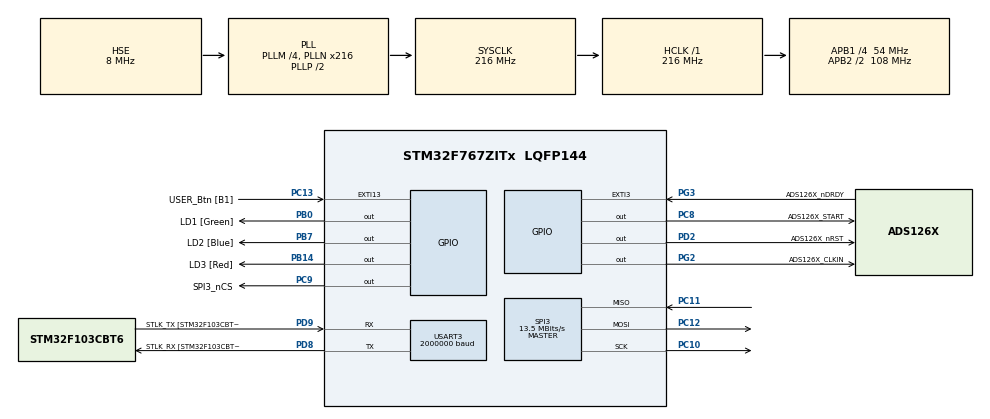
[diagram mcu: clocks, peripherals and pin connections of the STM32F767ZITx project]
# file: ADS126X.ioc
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Dma.Request0=SPI3_RX
Dma.Request1=SPI3_TX
Dma.SPI3_RX.0.Direction=DMA_PERIPH_TO_MEMORY
Dma.SPI3_RX.0.FIFOMode=DMA_FIFOMODE_DISABLE
Dma.SPI3_RX.0.Instance=DMA1_Stream0
Dma.SPI3_RX.0.MemDataAlignment=DMA_MDATAALIGN_BYTE
Dma.SPI3_RX.0.MemInc=DMA_MINC_ENABLE
Dma.SPI3_RX.0.Mode=DMA_NORMAL
Dma.SPI3_RX.0.PeriphDataAlignment=DMA_PDATAALIGN_BYTE
Dma.SPI3_RX.0.PeriphInc=DMA_PINC_DISABLE
Dma.SPI3_RX.0.Priority=DMA_PRIORITY_HIGH
Dma.SPI3_TX.1.Direction=DMA_MEMORY_TO_PERIPH
Dma.SPI3_TX.1.FIFOMode=DMA_FIFOMODE_DISABLE
Dma.SPI3_TX.1.Instance=DMA1_Stream5
Dma.SPI3_TX.1.MemDataAlignment=DMA_MDATAALIGN_BYTE
Dma.SPI3_TX.1.MemInc=DMA_MINC_ENABLE
Dma.SPI3_TX.1.Mode=DMA_NORMAL
Dma.SPI3_TX.1.PeriphDataAlignment=DMA_PDATAALIGN_BYTE
Dma.SPI3_TX.1.PeriphInc=DMA_PINC_DISABLE
Dma.SPI3_TX.1.Priority=DMA_PRIORITY_LOW
Mcu.Family=STM32F7
Mcu.Name=STM32F767ZITx
Mcu.Package=LQFP144
NVIC.DMA1_Stream0_IRQn=true\:0\:0\:false\:false\:true\:false\:true\:true
NVIC.DMA1_Stream5_IRQn=true\:0\:0\:false\:false\:true\:false\:true\:true
NVIC.EXTI3_IRQn=true\:0\:0\:false\:false\:true\:true\:true\:true
NVIC.PriorityGroup=NVIC_PRIORITYGROUP_4
NVIC.USART3_IRQn=true\:0\:0\:false\:false\:true\:true\:true\:true
PA13.GPIO_Label=TMS
PA13.Mode=Serial_Wire
PA13.Signal=SYS_JTMS-SWDIO
PA14.GPIO_Label=TCK
PA14.Mode=Serial_Wire
PA14.Signal=SYS_JTCK-SWCLK
PB0.GPIO_Label=LD1 [Green]
PB0.Signal=GPIO_Output
PB14.GPIO_Label=LD3 [Red]
PB14.Signal=GPIO_Output
PB7.GPIO_Label=LD2 [Blue]
PB7.Signal=GPIO_Output
PC10.Mode=Full_Duplex_Master
PC10.Signal=SPI3_SCK
PC11.Mode=Full_Duplex_Master
PC11.Signal=SPI3_MISO
PC12.Mode=Full_Duplex_Master
PC12.Signal=SPI3_MOSI
PC13.GPIO_Label=USER_Btn [B1]
PC13.Signal=GPXTI13
PC14/OSC32_IN.Signal=RCC_OSC32_IN
PC15/OSC32_OUT.Signal=RCC_OSC32_OUT
PC8.GPIO_Label=ADS126X_START
PC8.Signal=GPIO_Output
PC9.GPIO_Label=SPI3_nCS
PC9.PinState=GPIO_PIN_SET
PC9.Signal=GPIO_Output
PD2.GPIO_Label=ADS126X_nRST
PD2.Signal=GPIO_Output
PD8.GPIO_Label=STLK_RX [STM32F103CBT6_PA3]
PD8.Mode=Asynchronous
PD8.Signal=USART3_TX
PD9.GPIO_Label=STLK_TX [STM32F103CBT6_PA2]
PD9.Mode=Asynchronous
PD9.Signal=USART3_RX
PG2.GPIO_Label=ADS126X_CLKIN
PG2.Signal=GPIO_Output
PG3.GPIO_Label=ADS126X_nDRDY
PG3.GPIO_ModeDefaultEXTI=GPIO_MODE_IT_FALLING
PG3.Signal=GPXTI3
PH0/OSC_IN.Mode=HSE-External-Clock-Source
PH0/OSC_IN.Signal=RCC_OSC_IN
PH1/OSC_OUT.Mode=HSE-External-Clock-Source
PH1/OSC_OUT.Signal=RCC_OSC_OUT
ProjectManager.HeapSize=0x2000
ProjectManager.StackSize=0x4000
ProjectManager.TargetToolchain=MDK-ARM V5.32
RCC.48MHZClocksFreq_Value=24000000
RCC.AHBFreq_Value=216000000
RCC.APB1CLKDivider=RCC_HCLK_DIV4
RCC.APB1Freq_Value=54000000
RCC.APB1TimFreq_Value=108000000
RCC.APB2CLKDivider=RCC_HCLK_DIV2
RCC.APB2Freq_Value=108000000
RCC.APB2TimFreq_Value=216000000
RCC.CortexFreq_Value=216000000
RCC.HCLKFreq_Value=216000000
RCC.HSE_VALUE=8000000
RCC.HSI_VALUE=16000000
RCC.PLLM=4
RCC.PLLMUL=RCC_PLL_MUL9
RCC.PLLN=216
RCC.PLLQ=4
RCC.PLLSourceVirtual=RCC_PLLSOURCE_HSE
RCC.PRESCALERUSB=RCC_USBCLKSOURCE_PLL_DIV1_5
RCC.SYSCLKFreq_VALUE=216000000
RCC.SYSCLKSource=RCC_SYSCLKSOURCE_PLLCLK
RCC.SYSCLKSourceVirtual=RCC_SYSCLKSOURCE_PLLCLK
RCC.USBFreq_Value=108000000
RCC.VCOOutputFreq_Value=432000000
SPI3.BaudRatePrescaler=SPI_BAUDRATEPRESCALER_4
SPI3.CLKPhase=SPI_PHASE_2EDGE
SPI3.CalculateBaudRate=13.5 MBits/s
SPI3.DataSize=SPI_DATASIZE_8BIT
SPI3.Direction=SPI_DIRECTION_2LINES
SPI3.Mode=SPI_MODE_MASTER
SPI3.VirtualType=VM_MASTER
USART3.BaudRate=2000000
USART3.OverSampling=UART_OVERSAMPLING_16
USART3.VirtualMode-Asynchronous=VM_ASYNC
board=NUCLEO-F767ZI

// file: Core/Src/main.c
/* USER CODE BEGIN Header */
/**
  ******************************************************************************
  * @file           : main.c
  * @brief          : Main program body
  ******************************************************************************
  * @attention
  *
  * Copyright (c) 2023 STMicroelectronics.
  * All rights reserved.
  *
  * This software is licensed under terms that can be found in the LICENSE file
  * in the root directory of this software component.
  * If no LICENSE file comes with this software, it is provided AS-IS.
  *
  ******************************************************************************
  */
/* USER CODE END Header */
#include "main.h"

/* USER CODE BEGIN Includes */
#include "ADS126x.h"
/* USER CODE END Includes */

SPI_HandleTypeDef hspi3;
DMA_HandleTypeDef hdma_spi3_rx;
DMA_HandleTypeDef hdma_spi3_tx;

UART_HandleTypeDef huart3;

void SystemClock_Config(void);
static void MX_GPIO_Init(void);
static void MX_DMA_Init(void);
static void MX_SPI3_Init(void);
static void MX_USART3_UART_Init(void);

/* USER CODE BEGIN 0 */
#define UART_TXBUFFER_SIZE			512
#define UART_TXDATA_BUFFER_SIZE		50
static const char caption[] = "ADS126X (20sps, default setting with reset status cleared)\r";
static const uint8_t bin_to_hex[16] = "0123456789ABCDEF";
static volatile uint32_t uart3_tx_is_busy = 0;
static uint8_t uart_txbuf[UART_TXBUFFER_SIZE];
static uint32_t uart_txbuf_index;
static uint32_t uart_txdata_number;
static uint32_t uart_txdata_index;
static uint32_t uart_txdata_buffer[UART_TXDATA_BUFFER_SIZE];
/* USER CODE END 0 */

int main(void)
{

  /* MCU Configuration--------------------------------------------------------*/

  /* Reset of all peripherals, Initializes the Flash interface and the Systick. */
  HAL_Init();

  /* Configure the system clock */
  SystemClock_Config();

  /* Initialize all configured peripherals */
  MX_GPIO_Init();
  MX_DMA_Init();
  MX_SPI3_Init();
  MX_USART3_UART_Init();
  /* USER CODE BEGIN 2 */
	ADS126x_Init();

	HAL_UART_Transmit_IT(&huart3,(uint8_t*)caption,sizeof(caption));
	uart3_tx_is_busy = 1;
	HAL_Delay(1000);

	ADS126x_Start();
  /* USER CODE END 2 */

  /* Infinite loop */
  /* USER CODE BEGIN WHILE */
  while (1)
  {
		if (ads126x.is_SPI_dataReady == 1)																												// new data arrives;
		{
			ADS126x_PushDatatoCircularBuf();
			ads126x.is_SPI_dataReady = 0;
		}
		else {
			if ((ads126x.data_circularBuf.read_index != ads126x.data_circularBuf.write_index ) && (uart3_tx_is_busy == 0)) {			// buffer is not empty
				uart_txdata_number = UART_TXDATA_BUFFER_SIZE;
				ADS126x_GetDatafromCircularBuf(uart_txdata_buffer, &uart_txdata_number);
				uart_txbuf_index = 0;
				for ( uart_txdata_index = 0; uart_txdata_index < uart_txdata_number; uart_txdata_index++ ) {
					uint32_t temp_variable = uart_txdata_buffer[uart_txdata_index];
					uart_txbuf[uart_txbuf_index++] = bin_to_hex[(temp_variable >> 28)&0xF];
					uart_txbuf[uart_txbuf_index++] = bin_to_hex[(temp_variable >> 24)&0xF];
					uart_txbuf[uart_txbuf_index++] = bin_to_hex[(temp_variable >> 20)&0xF];
					uart_txbuf[uart_txbuf_index++] = bin_to_hex[(temp_variable >> 16)&0xF];
					uart_txbuf[uart_txbuf_index++] = bin_to_hex[(temp_variable >> 12)&0xF];
					uart_txbuf[uart_txbuf_index++] = bin_to_hex[(temp_variable >>  8)&0xF];
					uart_txbuf[uart_txbuf_index++] = bin_to_hex[(temp_variable >>  4)&0xF];
					uart_txbuf[uart_txbuf_index++] = bin_to_hex[(temp_variable >>  0)&0xF];
					uart_txbuf[uart_txbuf_index++] = '\r';
				}
				HAL_UART_Transmit_IT(&huart3,uart_txbuf,uart_txbuf_index);
				uart3_tx_is_busy = 1;
			}
		}
    /* USER CODE END WHILE */

  }
}

void SystemClock_Config(void)
{
  RCC_OscInitTypeDef RCC_OscInitStruct = {0};
  RCC_ClkInitTypeDef RCC_ClkInitStruct = {0};

  /** Configure the main internal regulator output voltage
  */
  __HAL_RCC_PWR_CLK_ENABLE();
  __HAL_PWR_VOLTAGESCALING_CONFIG(PWR_REGULATOR_VOLTAGE_SCALE1);

  /** Initializes the RCC Oscillators according to the specified parameters
  * in the RCC_OscInitTypeDef structure.
  */
  RCC_OscInitStruct.OscillatorType = RCC_OSCILLATORTYPE_HSE;
  RCC_OscInitStruct.HSEState = RCC_HSE_BYPASS;
  RCC_OscInitStruct.PLL.PLLState = RCC_PLL_ON;
  RCC_OscInitStruct.PLL.PLLSource = RCC_PLLSOURCE_HSE;
  RCC_OscInitStruct.PLL.PLLM = 4;
  RCC_OscInitStruct.PLL.PLLN = 216;
  RCC_OscInitStruct.PLL.PLLP = RCC_PLLP_DIV2;
  RCC_OscInitStruct.PLL.PLLQ = 4;
  RCC_OscInitStruct.PLL.PLLR = 2;
  if (HAL_RCC_OscConfig(&RCC_OscInitStruct) != HAL_OK)
  {
    Error_Handler();
  }

  /** Activate the Over-Drive mode
  */
  if (HAL_PWREx_EnableOverDrive() != HAL_OK)
  {
    Error_Handler();
  }

  /** Initializes the CPU, AHB and APB buses clocks
  */
  RCC_ClkInitStruct.ClockType = RCC_CLOCKTYPE_HCLK|RCC_CLOCKTYPE_SYSCLK
                              |RCC_CLOCKTYPE_PCLK1|RCC_CLOCKTYPE_PCLK2;
  RCC_ClkInitStruct.SYSCLKSource = RCC_SYSCLKSOURCE_PLLCLK;
  RCC_ClkInitStruct.AHBCLKDivider = RCC_SYSCLK_DIV1;
  RCC_ClkInitStruct.APB1CLKDivider = RCC_HCLK_DIV4;
  RCC_ClkInitStruct.APB2CLKDivider = RCC_HCLK_DIV2;

  if (HAL_RCC_ClockConfig(&RCC_ClkInitStruct, FLASH_LATENCY_7) != HAL_OK)
  {
    Error_Handler();
  }
}

static void MX_SPI3_Init(void)
{

  /* SPI3 parameter configuration*/
  hspi3.Instance = SPI3;
  hspi3.Init.Mode = SPI_MODE_MASTER;
  hspi3.Init.Direction = SPI_DIRECTION_2LINES;
  hspi3.Init.DataSize = SPI_DATASIZE_8BIT;
  hspi3.Init.CLKPolarity = SPI_POLARITY_LOW;
  hspi3.Init.CLKPhase = SPI_PHASE_2EDGE;
  hspi3.Init.NSS = SPI_NSS_SOFT;
  hspi3.Init.BaudRatePrescaler = SPI_BAUDRATEPRESCALER_4;
  hspi3.Init.FirstBit = SPI_FIRSTBIT_MSB;
  hspi3.Init.TIMode = SPI_TIMODE_DISABLE;
  hspi3.Init.CRCCalculation = SPI_CRCCALCULATION_DISABLE;
  hspi3.Init.CRCPolynomial = 7;
  hspi3.Init.CRCLength = SPI_CRC_LENGTH_DATASIZE;
  hspi3.Init.NSSPMode = SPI_NSS_PULSE_DISABLE;
  if (HAL_SPI_Init(&hspi3) != HAL_OK)
  {
    Error_Handler();
  }

}

static void MX_USART3_UART_Init(void)
{

  huart3.Instance = USART3;
  huart3.Init.BaudRate = 2000000;
  huart3.Init.WordLength = UART_WORDLENGTH_8B;
  huart3.Init.StopBits = UART_STOPBITS_1;
  huart3.Init.Parity = UART_PARITY_NONE;
  huart3.Init.Mode = UART_MODE_TX_RX;
  huart3.Init.HwFlowCtl = UART_HWCONTROL_NONE;
  huart3.Init.OverSampling = UART_OVERSAMPLING_16;
  huart3.Init.OneBitSampling = UART_ONE_BIT_SAMPLE_DISABLE;
  huart3.AdvancedInit.AdvFeatureInit = UART_ADVFEATURE_NO_INIT;
  if (HAL_UART_Init(&huart3) != HAL_OK)
  {
    Error_Handler();
  }

}

static void MX_DMA_Init(void)
{

  /* DMA controller clock enable */
  __HAL_RCC_DMA1_CLK_ENABLE();

  /* DMA interrupt init */
  /* DMA1_Stream0_IRQn interrupt configuration */
  HAL_NVIC_SetPriority(DMA1_Stream0_IRQn, 0, 0);
  HAL_NVIC_EnableIRQ(DMA1_Stream0_IRQn);
  /* DMA1_Stream5_IRQn interrupt configuration */
  HAL_NVIC_SetPriority(DMA1_Stream5_IRQn, 0, 0);
  HAL_NVIC_EnableIRQ(DMA1_Stream5_IRQn);

}

static void MX_GPIO_Init(void)
{
  GPIO_InitTypeDef GPIO_InitStruct = {0};

  /* GPIO Ports Clock Enable */
  __HAL_RCC_GPIOE_CLK_ENABLE();
  __HAL_RCC_GPIOC_CLK_ENABLE();
  __HAL_RCC_GPIOF_CLK_ENABLE();
  __HAL_RCC_GPIOH_CLK_ENABLE();
  __HAL_RCC_GPIOA_CLK_ENABLE();
  __HAL_RCC_GPIOB_CLK_ENABLE();
  __HAL_RCC_GPIOG_CLK_ENABLE();
  __HAL_RCC_GPIOD_CLK_ENABLE();

  /*Configure GPIO pin Output Level */
  HAL_GPIO_WritePin(GPIOB, LD1_Pin|LD3_Pin|LD2_Pin, GPIO_PIN_RESET);

  /*Configure GPIO pin Output Level */
  HAL_GPIO_WritePin(ADS126X_CLKIN_GPIO_Port, ADS126X_CLKIN_Pin, GPIO_PIN_RESET);

  /*Configure GPIO pin Output Level */
  HAL_GPIO_WritePin(ADS126X_START_GPIO_Port, ADS126X_START_Pin, GPIO_PIN_RESET);

  /*Configure GPIO pin Output Level */
  HAL_GPIO_WritePin(SPI3_nCS_GPIO_Port, SPI3_nCS_Pin, GPIO_PIN_SET);

  /*Configure GPIO pin Output Level */
  HAL_GPIO_WritePin(ADS126X_nRST_GPIO_Port, ADS126X_nRST_Pin, GPIO_PIN_RESET);

  /*Configure GPIO pins : PE2 PE3 PE4 PE5
                           PE6 PE7 PE8 PE9
                           PE10 PE11 PE12 PE13
                           PE14 PE15 PE0 PE1 */
  GPIO_InitStruct.Pin = GPIO_PIN_2|GPIO_PIN_3|GPIO_PIN_4|GPIO_PIN_5
                          |GPIO_PIN_6|GPIO_PIN_7|GPIO_PIN_8|GPIO_PIN_9
                          |GPIO_PIN_10|GPIO_PIN_11|GPIO_PIN_12|GPIO_PIN_13
                          |GPIO_PIN_14|GPIO_PIN_15|GPIO_PIN_0|GPIO_PIN_1;
  GPIO_InitStruct.Mode = GPIO_MODE_ANALOG;
  GPIO_InitStruct.Pull = GPIO_NOPULL;
  HAL_GPIO_Init(GPIOE, &GPIO_InitStruct);

  /*Configure GPIO pin : USER_Btn_Pin */
  GPIO_InitStruct.Pin = USER_Btn_Pin;
  GPIO_InitStruct.Mode = GPIO_MODE_IT_RISING;
  GPIO_InitStruct.Pull = GPIO_NOPULL;
  HAL_GPIO_Init(USER_Btn_GPIO_Port, &GPIO_InitStruct);

  /*Configure GPIO pins : PF0 PF1 PF2 PF3
                           PF4 PF5 PF6 PF7
                           PF8 PF9 PF10 PF11
                           PF12 PF13 PF14 PF15 */
  GPIO_InitStruct.Pin = GPIO_PIN_0|GPIO_PIN_1|GPIO_PIN_2|GPIO_PIN_3
                          |GPIO_PIN_4|GPIO_PIN_5|GPIO_PIN_6|GPIO_PIN_7
                          |GPIO_PIN_8|GPIO_PIN_9|GPIO_PIN_10|GPIO_PIN_11
                          |GPIO_PIN_12|GPIO_PIN_13|GPIO_PIN_14|GPIO_PIN_15;
  GPIO_InitStruct.Mode = GPIO_MODE_ANALOG;
  GPIO_InitStruct.Pull = GPIO_NOPULL;
  HAL_GPIO_Init(GPIOF, &GPIO_InitStruct);

  /*Configure GPIO pins : PC0 PC1 PC2 PC3
                           PC4 PC5 PC6 PC7 */
  GPIO_InitStruct.Pin = GPIO_PIN_0|GPIO_PIN_1|GPIO_PIN_2|GPIO_PIN_3
                          |GPIO_PIN_4|GPIO_PIN_5|GPIO_PIN_6|GPIO_PIN_7;
  GPIO_InitStruct.Mode = GPIO_MODE_ANALOG;
  GPIO_InitStruct.Pull = GPIO_NOPULL;
  HAL_GPIO_Init(GPIOC, &GPIO_InitStruct);

  /*Configure GPIO pins : PA0 PA1 PA2 PA3
                           PA4 PA5 PA6 PA7
                           PA8 PA9 PA10 PA11
                           PA12 PA15 */
  GPIO_InitStruct.Pin = GPIO_PIN_0|GPIO_PIN_1|GPIO_PIN_2|GPIO_PIN_3
                          |GPIO_PIN_4|GPIO_PIN_5|GPIO_PIN_6|GPIO_PIN_7
                          |GPIO_PIN_8|GPIO_PIN_9|GPIO_PIN_10|GPIO_PIN_11
                          |GPIO_PIN_12|GPIO_PIN_15;
  GPIO_InitStruct.Mode = GPIO_MODE_ANALOG;
  GPIO_InitStruct.Pull = GPIO_NOPULL;
  HAL_GPIO_Init(GPIOA, &GPIO_InitStruct);

  /*Configure GPIO pins : LD1_Pin LD3_Pin LD2_Pin */
  GPIO_InitStruct.Pin = LD1_Pin|LD3_Pin|LD2_Pin;
  GPIO_InitStruct.Mode = GPIO_MODE_OUTPUT_PP;
  GPIO_InitStruct.Pull = GPIO_NOPULL;
  GPIO_InitStruct.Speed = GPIO_SPEED_FREQ_LOW;
  HAL_GPIO_Init(GPIOB, &GPIO_InitStruct);

  /*Configure GPIO pins : PB1 PB2 PB10 PB11
                           PB12 PB13 PB15 PB3
                           PB4 PB5 PB6 PB8
                           PB9 */
  GPIO_InitStruct.Pin = GPIO_PIN_1|GPIO_PIN_2|GPIO_PIN_10|GPIO_PIN_11
                          |GPIO_PIN_12|GPIO_PIN_13|GPIO_PIN_15|GPIO_PIN_3
                          |GPIO_PIN_4|GPIO_PIN_5|GPIO_PIN_6|GPIO_PIN_8
                          |GPIO_PIN_9;
  GPIO_InitStruct.Mode = GPIO_MODE_ANALOG;
  GPIO_InitStruct.Pull = GPIO_NOPULL;
  HAL_GPIO_Init(GPIOB, &GPIO_InitStruct);

  /*Configure GPIO pins : PG0 PG1 PG4 PG5
                           PG6 PG7 PG8 PG9
                           PG10 PG11 PG12 PG13
                           PG14 PG15 */
  GPIO_InitStruct.Pin = GPIO_PIN_0|GPIO_PIN_1|GPIO_PIN_4|GPIO_PIN_5
                          |GPIO_PIN_6|GPIO_PIN_7|GPIO_PIN_8|GPIO_PIN_9
                          |GPIO_PIN_10|GPIO_PIN_11|GPIO_PIN_12|GPIO_PIN_13
                          |GPIO_PIN_14|GPIO_PIN_15;
  GPIO_InitStruct.Mode = GPIO_MODE_ANALOG;
  GPIO_InitStruct.Pull = GPIO_NOPULL;
  HAL_GPIO_Init(GPIOG, &GPIO_InitStruct);

  /*Configure GPIO pins : PD10 PD11 PD12 PD13
                           PD14 PD15 PD0 PD1
                           PD3 PD4 PD5 PD6
                           PD7 */
  GPIO_InitStruct.Pin = GPIO_PIN_10|GPIO_PIN_11|GPIO_PIN_12|GPIO_PIN_13
                          |GPIO_PIN_14|GPIO_PIN_15|GPIO_PIN_0|GPIO_PIN_1
                          |GPIO_PIN_3|GPIO_PIN_4|GPIO_PIN_5|GPIO_PIN_6
                          |GPIO_PIN_7;
  GPIO_InitStruct.Mode = GPIO_MODE_ANALOG;
  GPIO_InitStruct.Pull = GPIO_NOPULL;
  HAL_GPIO_Init(GPIOD, &GPIO_InitStruct);

  /*Configure GPIO pin : ADS126X_CLKIN_Pin */
  GPIO_InitStruct.Pin = ADS126X_CLKIN_Pin;
  GPIO_InitStruct.Mode = GPIO_MODE_OUTPUT_PP;
  GPIO_InitStruct.Pull = GPIO_NOPULL;
  GPIO_InitStruct.Speed = GPIO_SPEED_FREQ_LOW;
  HAL_GPIO_Init(ADS126X_CLKIN_GPIO_Port, &GPIO_InitStruct);

  /*Configure GPIO pin : ADS126X_nDRDY_Pin */
  GPIO_InitStruct.Pin = ADS126X_nDRDY_Pin;
  GPIO_InitStruct.Mode = GPIO_MODE_IT_FALLING;
  GPIO_InitStruct.Pull = GPIO_NOPULL;
  HAL_GPIO_Init(ADS126X_nDRDY_GPIO_Port, &GPIO_InitStruct);

  /*Configure GPIO pins : ADS126X_START_Pin SPI3_nCS_Pin */
  GPIO_InitStruct.Pin = ADS126X_START_Pin|SPI3_nCS_Pin;
  GPIO_InitStruct.Mode = GPIO_MODE_OUTPUT_PP;
  GPIO_InitStruct.Pull = GPIO_NOPULL;
  GPIO_InitStruct.Speed = GPIO_SPEED_FREQ_LOW;
  HAL_GPIO_Init(GPIOC, &GPIO_InitStruct);

  /*Configure GPIO pin : ADS126X_nRST_Pin */
  GPIO_InitStruct.Pin = ADS126X_nRST_Pin;
  GPIO_InitStruct.Mode = GPIO_MODE_OUTPUT_PP;
  GPIO_InitStruct.Pull = GPIO_NOPULL;
  GPIO_InitStruct.Speed = GPIO_SPEED_FREQ_LOW;
  HAL_GPIO_Init(ADS126X_nRST_GPIO_Port, &GPIO_InitStruct);

  /* EXTI interrupt init*/
  HAL_NVIC_SetPriority(EXTI3_IRQn, 0, 0);
  HAL_NVIC_EnableIRQ(EXTI3_IRQn);

}

/* USER CODE BEGIN 4 */
void HAL_UART_TxCpltCallback(UART_HandleTypeDef *huart){
	if (huart == &huart3){
		uart3_tx_is_busy = 0;
	}
}

void HAL_UART_ErrorCallback(UART_HandleTypeDef *huart){
	//[todo]
	//huart->ErrorCode
}
/* USER CODE END 4 */

void Error_Handler(void)
{
  __disable_irq();
  while (1)
  {
  }
}
